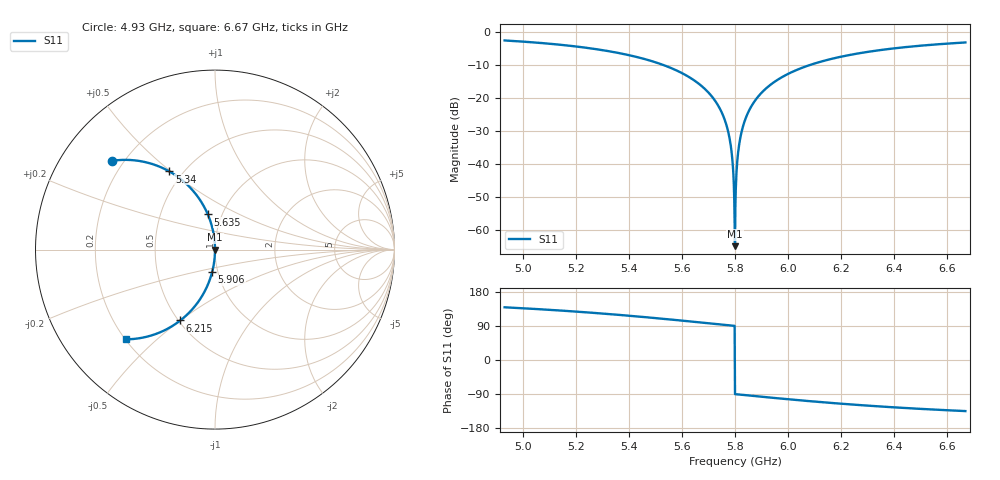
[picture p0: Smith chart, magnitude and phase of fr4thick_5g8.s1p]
! Created with skrf 2.2.0 (http://scikit-rf.org).
# Hz S RI R 50.0
!freq ReS11 ImS11
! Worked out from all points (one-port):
!   1201 points, 4.93 GHz to 6.67 GHz, reference 50 ohm
!   lowest |S11| = -65.0 dB at 5.8 GHz (marker M1), VSWR 1.00, Z = 50 - j0.056 ohm
!   |S11| at or under -10 dB: 5.533 GHz to 6.079 GHz (546.4 MHz wide, 9.41 % of centre)
!   S11 on the Smith chart (normalised r, x): 4.93 GHz: 0.16, +0.36; 5.34 GHz: 0.42, +0.49; 5.635 GHz: 0.86, +0.35; 5.906 GHz: 0.94, -0.24; 6.215 GHz: 0.51, -0.50; 6.67 GHz: 0.20, -0.40
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4.93e9  -0.5713 0.4949
5.1475e9  -0.4171 0.4931
5.34035e9  -0.2545 0.4356
5.365e9  -0.2333 0.4229
5.48535e9  -0.1346 0.3413
5.5825e9  -0.0679 0.2516
5.6347e9  -0.04 0.1959
5.7072e9  -0.0127 0.1121
5.73475e9  -0.00628 0.079
5.75505e9  -0.00296 0.0543
5.76955e9  -0.00134 0.0366
5.7797e9  -0.000588 0.0242
5.78695e9  -0.000236 0.0154
5.79275e9  -6.87e-05 0.00829
5.79565e9  -2.25e-05 0.00475
5.8e9  -3.14e-07 -0.00056
5.8058e9  -5.83e-05 -0.00763
5.8116e9  -0.000216 -0.0147
5.81595e9  -0.0004 -0.02
5.8232e9  -0.000829 -0.0288
5.8319e9  -0.00155 -0.0393
5.8609e9  -0.00552 -0.0741
5.90585e9  -0.0163 -0.1265
6.0175e9  -0.0638 -0.2444
6.2147e9  -0.1934 -0.3949
6.235e9  -0.2082 -0.406
6.4525e9  -0.3639 -0.4811
6.67e9  -0.4964 -0.5
